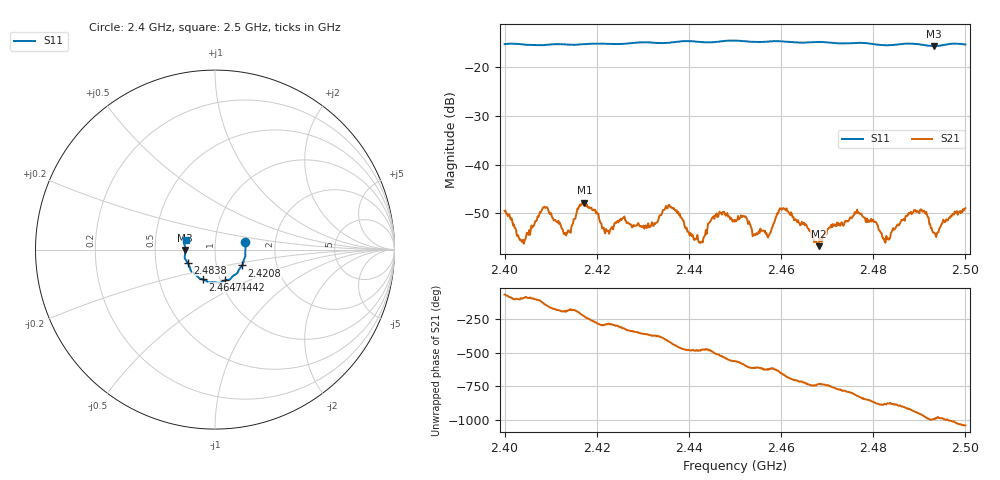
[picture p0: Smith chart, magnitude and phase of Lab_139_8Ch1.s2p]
# Hz S RI R 50
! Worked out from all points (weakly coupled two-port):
!   601 points, 2.4 GHz to 2.5 GHz, reference 50 ohm
!   highest |S21| = -47.83 dB at 2.4173 GHz (marker M1); lowest = -56.8 dB at 2.4682 GHz (marker M2)
!   lowest |S11| = -15.6 dB at 2.4932 GHz (marker M3), VSWR 1.40, Z = 35.8 - j0.0994 ohm
!   |S11| at or under -10 dB: start of sweep to end of sweep
!   S12 and S22 are empty: the file has one direction only
!   S11 on the Smith chart (normalised r, x): 2.4 GHz: 1.40, +0.12; 2.4208 GHz: 1.33, -0.24; 2.4442 GHz: 1.05, -0.37; 2.4647 GHz: 0.83, -0.29; 2.4838 GHz: 0.73, -0.11; 2.5 GHz: 0.72, +0.08
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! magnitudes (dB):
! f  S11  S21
! 2.4 GHz  -15.2  -49.5
! 2.4038 GHz  -15.3  -56.0
! 2.4088 GHz  -15.4  -48.9
! 2.4138 GHz  -15.3  -53.5
! 2.4167 GHz  -15.3  -48.3
! 2.4173 GHz  -15.2  -47.8
! 2.4208 GHz  -15.1  -52.0
! 2.4333 GHz  -15.0  -51.5
! 2.4362 GHz  -14.9  -48.8
! 2.4425 GHz  -14.8  -56.0
! 2.4442 GHz  -14.9  -52.2
! 2.45 GHz  -14.5  -51.4
! 2.4603 GHz  -14.7  -49.1
! 2.4647 GHz  -14.9  -52.2
! 2.4667 GHz  -14.8  -55.0
! 2.4682 GHz  -14.8  -56.8
! 2.4765 GHz  -15.0  -49.3
! 2.4833 GHz  -15.5  -55.5
! 2.4838 GHz  -15.4  -54.1
! 2.4907 GHz  -15.4  -49.7
! 2.4932 GHz  -15.6  -54.1
! 2.5 GHz  -15.3  -49.0
